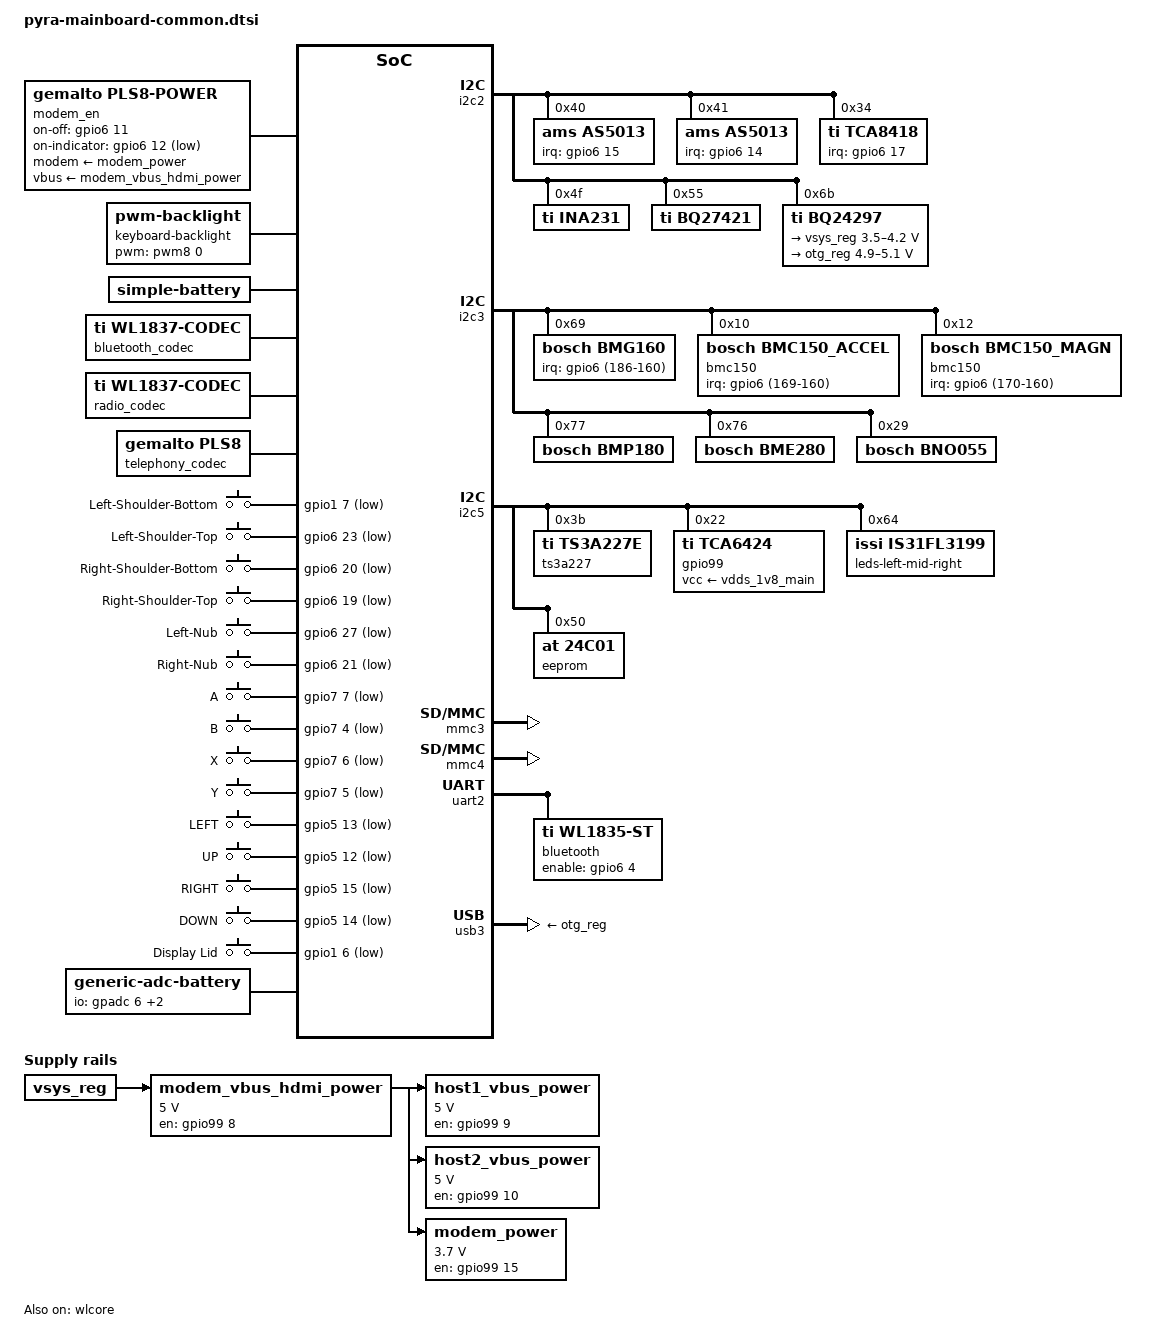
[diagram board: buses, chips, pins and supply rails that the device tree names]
// SPDX-License-Identifier: GPL-2.0-or-later
/*
 * Copyright (C) 2015-19 Golden Delicous Computers - http://www.goldelico.com/
 *
 * This program is free software; you can redistribute it and/or modify
 * it under the terms of the GNU General Public License version 2 as
 * published by the Free Software Foundation.
 */

#include <dt-bindings/input/input.h>

/ {
	/* common DC/DC converter for USB Host ports, Modem USB and HDMI 5V */
	modem_vbus_hdmi_power: tps2505_reg {
		compatible = "regulator-fixed";
		regulator-name = "modem_vbus_hdmi_power";
		regulator-min-microvolt = <5000000>;
		regulator-max-microvolt = <5000000>;
		gpio = <&gpio99 8 GPIO_ACTIVE_HIGH>;
		enable-active-high;
		startup-delay-us = <70000>;
		vin-supply = <&vsys_reg>;
		regulator-always-on;
	};

	/* the following are the DC/DC converters that supply the
	   5V to USB devices connected to the Host ports.
	   They should be under the (software) control
	   of the USB3503A hub on the CPU board */

	host1_vbus_power: host1_vbus_power_reg {
		compatible = "regulator-fixed";
		regulator-name = "host1_vbus_power";
		regulator-min-microvolt = <5000000>;
		regulator-max-microvolt = <5000000>;
		gpio = <&gpio99 9 GPIO_ACTIVE_HIGH>;
		enable-active-high;
		startup-delay-us = <70000>;
		vin-supply = <&modem_vbus_hdmi_power>;
		regulator-always-on;
	};

	host2_vbus_power: host2_vbus_power_reg {
		compatible = "regulator-fixed";
		regulator-name = "host2_vbus_power";
		regulator-min-microvolt = <5000000>;
		regulator-max-microvolt = <5000000>;
		gpio = <&gpio99 10 GPIO_ACTIVE_HIGH>;
		enable-active-high;
		startup-delay-us = <70000>;
		vin-supply = <&modem_vbus_hdmi_power>;
		regulator-always-on;
	};

	/* this is the modem power switch (similar to an unregulated LDO) */
	modem_power: modem_power_reg {
		compatible = "regulator-fixed";
		regulator-name = "modem_vbus_power";
		regulator-min-microvolt = <3700000>;
		regulator-max-microvolt = <3700000>;
		gpio = <&gpio99 15 GPIO_ACTIVE_HIGH>;
		enable-active-high;
		startup-delay-us = <100000>;
		/* the real input is vsys but it makes no sense
		   to power the modem without requesting vbus_hdmi */
		vin-supply = <&modem_vbus_hdmi_power>;
	};

	/* modem power control through rfkill */
	modem_en: modem {
		compatible = "gemalto,pls8-power";
		pinctrl-names = "default";
		pinctrl-0 = <&pyra_modem_pins>;
		/* gpio6_171: trigger to power on modem */
		on-off-gpio = <&gpio6 11 GPIO_ACTIVE_HIGH>;
		/* gpio6_172: modem power indication feedback GPIO */
		on-indicator-gpio = <&gpio6 12 GPIO_ACTIVE_LOW>;
		/* enable some external power regulators */
		modem-supply = <&modem_power>;
		/*
		 * VBUS supply should probably be controlled through the USB PHY driver
		 * for the modem port
		 */
		usb-port = <&hsusb2_phy>;
		/* apply VBUS to the modem */
		vbus-supply = <&modem_vbus_hdmi_power>;
	};

	keyboard-backlight {
		compatible = "pwm-backlight";
		pwms = <&pwm8 0 120000 0>; /* 8300Hz */
		pwm-names = "keyboard";
		brightness-levels = <0 1 2 5 7 10 13 25 32 64 128 320 640 1280 2560 3840 6400>;
		default-brightness-level = <13>;	/* 20% */
		pinctrl-names = "default";
		pinctrl-0 = <&pyra_keyboard_backlight_pins>;
	};

	pwm8: dmtimer-pwm@8 {
		compatible = "ti,omap-dmtimer-pwm";
		ti,timers = <&timer8>;
		#pwm-cells = <3>;
	};

	bat: battery {
		compatible = "simple-battery", "pyra-battery";
		voltage-min-design-microvolt = <3200000>;
		voltage-max-design-microvolt = <4200000>;
		energy-full-design-microwatt-hours = <22200000>;
		charge-full-design-microamp-hours = <6000000>;
		constant-charge-current-max-microamp = <2048000>;
		constant-charge-voltage-max-microvolt = <4200000>;
		precharge-current-microamp = <128000>;
		charge-term-current-microamp = <128000>;
	};

	/* Bluetooth audio */
	sound_bluetooth {
		compatible = "simple-audio-card";
		simple-audio-card,name = "Bluetooth";
		simple-audio-card,bitclock-master = <&bt_link_master>;
		simple-audio-card,frame-master = <&bt_link_master>;
		simple-audio-card,format = "i2s";

		simple-audio-card,cpu {
			sound-dai = <&mcbsp1>;
		};

		bt_link_master: simple-audio-card,codec {
			sound-dai = <&bluetooth_codec>;
		};
	};

	bluetooth_codec: bluetooth_codec {
		compatible = "ti,wl1837-codec";
		#sound-dai-cells = <0>;
	};

	/* FM radio audio */
	sound_fmradio {
		compatible = "simple-audio-card";
		simple-audio-card,name = "Tuner";
		simple-audio-card,bitclock-master = <&tuner_link_master>;
		simple-audio-card,frame-master = <&tuner_link_master>;
		simple-audio-card,format = "i2s";

		simple-audio-card,cpu {
			sound-dai = <&mcbsp2>;
		};

		tuner_link_master: simple-audio-card,codec {
			sound-dai = <&radio_codec>;
		};
	};

	radio_codec: radio_codec {
		compatible = "ti,wl1837-codec";
		#sound-dai-cells = <0>;
	};

	/* GSM audio */
	sound_telephony {
		compatible = "simple-audio-card";
		simple-audio-card,name = "Telephony";
		simple-audio-card,bitclock-master = <&telephony_link_master>;
		simple-audio-card,frame-master = <&telephony_link_master>;
		simple-audio-card,format = "i2s";
		simple-audio-card,bitclock-inversion;
		simple-audio-card,frame-inversion;
		simple-audio-card,cpu {
			sound-dai = <&mcbsp3>;
		};

		telephony_link_master: simple-audio-card,codec {
			sound-dai = <&telephony_codec>;
		};
	};

	telephony_codec: gsm_codec {
		compatible = "gemalto,pls8";
		#sound-dai-cells = <0>;
	};

	user-buttons {
		/* is bound to gpio1_wk7 by LC15 which we want to reassign */
		/delete-node/ BOOTSEL;
	};

	pyra-game-buttons {
		compatible = "gpio-keys";

		#address-cells = <7>;
		#size-cells = <0>;

		pinctrl-names = "default";
		pinctrl-0 = <&pyra_button_pins>;

		left_shoulder_bottom {
			label = "Left-Shoulder-Bottom";
			linux,code = <KEY_RIGHTSHIFT>;
			gpios = <&gpio1 7 GPIO_ACTIVE_LOW>;	/* gpio1_wk7 */
			gpio-key,wakeup;
		};

		left_shoulder_top {
			label = "Left-Shoulder-Top";
			linux,code = <KEY_RIGHTMETA>;
			gpios = <&gpio6 23 GPIO_ACTIVE_LOW>;	/* gpio6_183 */
			gpio-key,wakeup;
		};

		right_shoulder_bottom {
			label = "Right-Shoulder-Bottom";
			linux,code = <KEY_RIGHTCTRL>;
			gpios = <&gpio6 20 GPIO_ACTIVE_LOW>;	/* gpio6_180 */
			gpio-key,wakeup;
		};

		right_shoulder_top {
			label = "Right-Shoulder-Top";
			linux,code = <KEY_RIGHTALT>;
			gpios = <&gpio6 19 GPIO_ACTIVE_LOW>;	/* gpio6_179 */
			gpio-key,wakeup;
		};

		left_nub {
			label = "Left-Nub";
			linux,code = <BTN_RIGHT>;
			gpios = <&gpio6 27 GPIO_ACTIVE_LOW>;	/* gpio6_187 */
			gpio-key,wakeup;
		};

		right_nub {
			label = "Right-Nub";
			linux,code = <BTN_LEFT>;
			gpios = <&gpio6 21 GPIO_ACTIVE_LOW>;	/* gpio6_181 */
			gpio-key,wakeup;
		};

		button_a {
			label = "A";
			linux,code = <KEY_HOME>;
			gpios = <&gpio7 7 GPIO_ACTIVE_LOW>;	/* gpio7_199 */
			gpio-key,wakeup;
		};

		button_b {
			label = "B";
			linux,code = <KEY_END>;
			gpios = <&gpio7 4 GPIO_ACTIVE_LOW>;	/* gpio7_196 */
			gpio-key,wakeup;
		};

		button_x {
			label = "X";
			linux,code = <KEY_PAGEDOWN>;
			gpios = <&gpio7 6 GPIO_ACTIVE_LOW>;	/* gpio7_198 */
			gpio-key,wakeup;
		};

		button_y {
			label = "Y";
			linux,code = <KEY_PAGEUP>;
			gpios = <&gpio7 5 GPIO_ACTIVE_LOW>;	/* gpio7_197 */
			gpio-key,wakeup;
		};

		dpad_left {
			label = "LEFT";
			linux,code = <KEY_LEFT>;
			gpios = <&gpio5 13 GPIO_ACTIVE_LOW>;	/* gpio5_141 */
			gpio-key,wakeup;
		};

		dpad_up {
			label = "UP";
			linux,code = <KEY_UP>;
			gpios = <&gpio5 12 GPIO_ACTIVE_LOW>;	/* gpio5_140 */
			gpio-key,wakeup;
		};

		dpad_right {
			label = "RIGHT";
			linux,code = <KEY_RIGHT>;
			gpios = <&gpio5 15 GPIO_ACTIVE_LOW>;	/* gpio5_143 */
			gpio-key,wakeup;
		};

		dpad_down {
			label = "DOWN";
			linux,code = <KEY_DOWN>;
			gpios = <&gpio5 14 GPIO_ACTIVE_LOW>;	/* gpio5_142 */
			gpio-key,wakeup;
		};
	};

	pyra-lid-wakeup {
		compatible = "gpio-keys";

		pinctrl-names = "default";
		pinctrl-0 = <&lid_pin &wwan_pins>;

		#address-cells = <2>;
		#size-cells = <0>;

		wwan_wakeup {
			status = "disabled";	/* WAKEUP pin of PHS8 has been renamed to GPIO4 on PLS8 and is not able to be used as an URC trigger */
			label = "WWAN Wakeup";
			linux,code = <KEY_UNKNOWN>;
			gpios = <&gpio1 15 GPIO_ACTIVE_HIGH>;	/* gpio1_wk15 */
			gpio-key,wakeup;
			/* debounce-interval */
		};

		display_lid {
			label = "Display Lid";
			linux,input-type = <EV_SW>;
			linux,code = <SW_LID>;
			gpios = <&gpio1 6 GPIO_ACTIVE_LOW>;	/* gpio1_wk6 */
			gpio-key,wakeup;
		};

	};
};

/* add overlay pimmux for pyra on 5432evm */

&omap5_pmx_core {

	pinctrl-0 = <
			/* copied from omap5-board-common */
			&usbhost_pins
			&led_gpio_pins

			/* new entries */
			&pyra_misc_pins
	>;

	bt_pins: pinmux_bt_pins {
		pinctrl-single,pins = <
			OMAP5_IOPAD(0x12a, PIN_OUTPUT | MUX_MODE6)	/* 0x128:[31:16]  gpio6_164 - BT EN */
		>;
	};

	pyra_button_pins: pinmux_button_gpio_pins {
		pinctrl-single,pins = <
			OMAP5_IOPAD(0x1bc, PIN_INPUT_PULLUP | MUX_MODE6)	/* 0x1BC:[15:0] gpio5_140 - U */
			OMAP5_IOPAD(0x1be, PIN_INPUT_PULLUP | MUX_MODE6)	/* 0x1BC:[31:16] gpio5_141 - L */
			OMAP5_IOPAD(0x1c0, PIN_INPUT_PULLUP | MUX_MODE6)	/* 0x1C0:[15:0] gpio5_142 - D */
			OMAP5_IOPAD(0x1c2, PIN_INPUT_PULLUP | MUX_MODE6)	/* 0x1C0:[31:16] gpio5_143 - R */
			OMAP5_IOPAD(0x108, PIN_INPUT_PULLUP | MUX_MODE6)	/* 0x108:[15:0]  gpio6_179 - rsh-top */
			OMAP5_IOPAD(0x106, PIN_INPUT_PULLUP | MUX_MODE6)	/* 0x104:[31:16] gpio6_180 - rsh-bot */
			OMAP5_IOPAD(0x104, PIN_INPUT_PULLUP | MUX_MODE6)	/* 0x104:[15:0]  gpio6_181 - right nub */
			OMAP5_IOPAD(0x132, PIN_INPUT_PULLUP | MUX_MODE6)	/* 0x130:[31:16] gpio6_183 - lsh-top */
			OMAP5_IOPAD(0x13a, PIN_INPUT_PULLUP | MUX_MODE6)	/* 0x138:[31:16]  gpio6_187 - left nub */
			OMAP5_IOPAD(0x102, PIN_INPUT_PULLUP | MUX_MODE6)	/* 0x100:[31:16] gpio7_196 - B */
			OMAP5_IOPAD(0x0fc, PIN_INPUT_PULLUP | MUX_MODE6)	/* 0x0FC:[15:0] gpio7_197 - Y */
			OMAP5_IOPAD(0x0fe, PIN_INPUT_PULLUP | MUX_MODE6)	/* 0x0FC:[31:16] gpio7_198 - X */
			OMAP5_IOPAD(0x100, PIN_INPUT_PULLUP | MUX_MODE6)	/* 0x100:[15:0] gpio7_199 - A */
		>;
	};

	pyra_gpio_exp_pins: pinmux_gpio_exp_pins {
		pinctrl-single,pins = <
			OMAP5_IOPAD(0x12e, PIN_INPUT_PULLUP | MUX_MODE6)	/* 0x12C:[31:16]  gpio6_161 - active low interrupt */
		>;
	};

	pyra_accel_pins: pinmux_accel_gpio_pins {
		pinctrl-single,pins = <
			OMAP5_IOPAD(0x11c, PIN_INPUT_PULLUP | MUX_MODE6)	/* 0x11C:[15:0]  gpio6_169 - accelerometer interrupt */
		>;
	};

	pyra_gyro_pins: pinmux_gyro_gpio_pins {
		pinctrl-single,pins = <
			OMAP5_IOPAD(0x138, PIN_INPUT_PULLUP | MUX_MODE6)	/* 0x138:[15:0]  gpio6_186 - gyroscope interrupt */
		>;
	};

	pyra_magneto_pins: pinmux_magneto_gpio_pins {
		pinctrl-single,pins = <
			OMAP5_IOPAD(0x11a, PIN_INPUT_PULLUP | MUX_MODE6)	/* 0x118:[31:16]  gpio6_170 - magnetometer interrupt */
		>;
	};

	pyra_misc_pins: pinmux_misc_gpio_pins {
		pinctrl-single,pins = <
			OMAP5_IOPAD(0x1c4, PIN_INPUT_PULLUP | MUX_MODE6)	/* 0x1C4:[15:0]  gpio5_144 - reset I2C peripherals */
			OMAP5_IOPAD(0x12c, PIN_INPUT | MUX_MODE6)	/* 0x12C:[15:0]  gpio6_160 - revision 1 */
			OMAP5_IOPAD(0x128, PIN_INPUT_PULLDOWN | MUX_MODE6)	/* 0x128:[15:0]  gpio6_165 - speaker EN */
			OMAP5_IOPAD(0x112, PIN_INPUT_PULLUP | MUX_MODE6)	/* 0x110:[31:16]  gpio6_174 - right NUB int */
			OMAP5_IOPAD(0x110, PIN_INPUT_PULLUP | MUX_MODE6)	/* 0x110:[15:0]  gpio6_175 - left NUB int */
			OMAP5_IOPAD(0x10c, PIN_INPUT_PULLUP | MUX_MODE6)	/* 0x10C:[15:0]  gpio6_177 - keyboard int */
			OMAP5_IOPAD(0x10a, PIN_INPUT_PULLUP | MUX_MODE6)	/* 0x108:[31:16]  gpio6_178 - fm int */
			OMAP5_IOPAD(0x130, PIN_INPUT | MUX_MODE6)	/* 0x130:[15:0]  gpio6_182 - revision 2 */
			OMAP5_IOPAD(0x136, PIN_INPUT | MUX_MODE6)	/* 0x134:[31:16]  gpio6_185 - revision 3 */
		>;
	};

	pyra_penirq_pins: pinmux_penirq_gpio_pins {
		pinctrl-single,pins = <
			OMAP5_IOPAD(0x114, PIN_INPUT_PULLUP | MUX_MODE6)	/* 0x114:[15:0]  gpio6_173 - touch screen penirq */
		>;
	};

	pyra_modem_pins: pinmux_modem_gpio_pins {
		pinctrl-single,pins = <
			OMAP5_IOPAD(0x118, PIN_OUTPUT_PULLDOWN | MUX_MODE6)	/* 0x118:[15:0]  gpio6_171 - modem ignite */
			OMAP5_IOPAD(0x116, PIN_INPUT | MUX_MODE6)	/* 0x114:[31:16]  gpio6_172 - modem power indication */
		>;
	};

	pyra_backlight_pins: pinmux_backlight_pins {
		pinctrl-single,pins = <
			/* MUX_MODE0 for PWM_TIMER9, MUX_MODE6 for GPIO, MUX_MODE7 if panel provides the PWM signal */
			OMAP5_IOPAD(0x0f6, PIN_OUTPUT_PULLDOWN | MUX_MODE0)	/* 0x0F4:[31:16] timer9/gpio6_190 */
		>;
	};

	pyra_keyboard_backlight_pins: pinmux_keyboard_backlight_pins {
		pinctrl-single,pins = <
			/* MUX_MODE0 for PWM_TIMER8, MUX_MODE6 for GPIO */
			OMAP5_IOPAD(0x178, PIN_OUTPUT_PULLDOWN | MUX_MODE0)	/* 0x178:[15:0] timer8/gpio8_230 */
		>;
	};
};

&omap5_pmx_wkup {

	letux_wkup_pins: pinmux_wkup_pins {
		pinctrl-single,pins = <
			OMAP5_IOPAD(0x078, PIN_OUTPUT | MUX_MODE6)	/* 0x078:[15:0]  gpio1_wkout4 - second LED on CPU board */
			OMAP5_IOPAD(0x046, WAKEUP_EN | PIN_INPUT | MUX_MODE6)	/* 0x044:[31:16]  gpio1_wk7 - boot select input */
		>;
	};

	lid_pin: pinmux_lid_pin {
		pinctrl-single,pins = <
			OMAP5_IOPAD(0x044, WAKEUP_EN | PIN_INPUT_PULLUP | MUX_MODE6)	/* 0x044:[15:0] gpio1_wk6 - lid */
		>;
	};

	wwan_pins: pinmux_wwan_pins {
		pinctrl-single,pins = <
			OMAP5_IOPAD(0x042, WAKEUP_EN | PIN_INPUT_PULLUP | MUX_MODE6)	/* 0x040:[31:16] gpio1_wk15 - modem wakeup */
		>;
	};
};

/* register devices connected to Peripheral-I2C */
&i2c2 {

	/* left nub */
	as5013@40 {
		compatible = "ams,as5013";
		reg = <0x40>;
		interrupt-parent = <&gpio6>;
		interrupts = <15 IRQ_TYPE_EDGE_RISING>;	/* gpio6_175 low-to-high edge */
	};

	/* right nub */
	as5013@41 {
		compatible = "ams,as5013";
		reg = <0x41>;
		interrupt-parent = <&gpio6>;
		interrupts = <14 IRQ_TYPE_EDGE_RISING>;	/* gpio6_174 low-to-high edge */
	};

	/* keyboard scanner */
	tca8418@34 {
		compatible = "ti,tca8418";
		reg = <0x34>;
		interrupt-parent = <&gpio6>;
		interrupts = <17 IRQ_TYPE_EDGE_FALLING>;	/* gpio6_177 high-to-low edge */
		keypad,num-rows = <8>;
		keypad,num-columns = <10>;
		linux,keymap = <
			/* top row */
			MATRIX_KEY(3, 6, KEY_ESC)
			MATRIX_KEY(2, 3, KEY_PAUSE)
			MATRIX_KEY(1, 2, KEY_BRIGHTNESSUP)
			MATRIX_KEY(7, 1, KEY_F11)

			/* center column */
			MATRIX_KEY(2, 4, KEY_LEFTALT)
			MATRIX_KEY(2, 0, KEY_LEFTCTRL)
			MATRIX_KEY(1, 0, KEY_MENU)

			/* ABXY extension */
			MATRIX_KEY(4, 9, KEY_INSERT)
			MATRIX_KEY(1, 9, KEY_DELETE)

			/* digits row */
			MATRIX_KEY(7, 3, KEY_1)
			MATRIX_KEY(6, 7, KEY_2)
			MATRIX_KEY(6, 1, KEY_3)
			MATRIX_KEY(5, 5, KEY_4)
			MATRIX_KEY(6, 6, KEY_5)
			MATRIX_KEY(4, 3, KEY_6)
			MATRIX_KEY(3, 7, KEY_7)
			MATRIX_KEY(3, 5, KEY_8)
			MATRIX_KEY(2, 5, KEY_9)
			MATRIX_KEY(1, 5, KEY_0)
			MATRIX_KEY(7, 2, KEY_BACKSPACE)

			/* TAB row */
			MATRIX_KEY(5, 3, KEY_TAB)
			MATRIX_KEY(6, 4, KEY_Q)
			MATRIX_KEY(5, 8, KEY_W)
			MATRIX_KEY(5, 2, KEY_E)
			MATRIX_KEY(4, 6, KEY_R)
			MATRIX_KEY(6, 2, KEY_T)
			MATRIX_KEY(3, 4, KEY_Y)
			MATRIX_KEY(2, 8, KEY_U)
			MATRIX_KEY(2, 2, KEY_I)
			MATRIX_KEY(1, 6, KEY_O)
			MATRIX_KEY(0, 5, KEY_P)
			MATRIX_KEY(0, 4, KEY_ENTER)

			/* middle letter row */
			MATRIX_KEY(4, 0, KEY_APOSTROPHE)
			MATRIX_KEY(5, 6, KEY_A)
			MATRIX_KEY(4, 1, KEY_S)
			MATRIX_KEY(4, 4, KEY_D)
			MATRIX_KEY(3, 8, KEY_F)
			MATRIX_KEY(3, 2, KEY_G)
			MATRIX_KEY(2, 6, KEY_H)
			MATRIX_KEY(1, 3, KEY_J)
			MATRIX_KEY(1, 4, KEY_K)
			MATRIX_KEY(0, 8, KEY_L)
			MATRIX_KEY(3, 0, KEY_LEFTSHIFT)

			/* bottom letter row */
			MATRIX_KEY(7, 6, KEY_COMMA)
			MATRIX_KEY(6, 3, KEY_DOT)
			MATRIX_KEY(5, 7, KEY_Z)
			MATRIX_KEY(5, 1, KEY_X)
			MATRIX_KEY(4, 5, KEY_C)
			MATRIX_KEY(4, 7, KEY_V)
			MATRIX_KEY(3, 3, KEY_B)
			MATRIX_KEY(2, 7, KEY_N)
			MATRIX_KEY(7, 4, KEY_M)
			MATRIX_KEY(0, 6, KEY_SPACE)
			MATRIX_KEY(0, 7, KEY_SPACE)
			MATRIX_KEY(0, 0, KEY_LEFTMETA)
		>;
	};

	/* modem current sensor */
	ina231@4f {
		compatible = "ti,ina231";
		reg = <0x4f>;
		shunt-resistor = <20000>;	/* 20 mOhm */
	};

	bq27421@55 {
		compatible = "ti,bq27421";
		reg = <0x55>;
		monitored-battery = <&bat>;
	};

	/* charger */
	bq24297@6b {
		compatible = "ti,bq24297";
		reg = <0x6b>;
		monitored-battery = <&bat>;
		/* interrupts are broken */
		regulators {
			vsys_reg: vsys_regulator {
				regulator-compatible = "bq2429x-vsys";
				regulator-name = "vsys";
				regulator-min-microvolt = <3500000>;
				regulator-max-microvolt = <4200000>;
				regulator-always-on;
				regulator-boot-on;
			};
			otg_reg: otg_regulator {
				regulator-compatible = "bq2429x-otg";
				regulator-name = "otg";
				regulator-min-microvolt = <4900000>;
				regulator-max-microvolt = <5100000>;
			};
		};
	};

};

/* register devices connected to Sensor-I2C */
&i2c3 {
	/* optional gyroscope sensor */
	bmg160@69 {
		compatible = "bosch,bmg160";
		reg = <0x69>;
		pinctrl-names = "default";
		pinctrl-0 = <&pyra_gyro_pins>;
		interrupt-parent = <&gpio6>;
		interrupts = <(186-160) (IRQ_TYPE_LEVEL_HIGH | IRQ_TYPE_EDGE_RISING)>;	/* gpio6_186 */
	};
	/* optional accelerometer sensor */
	bmc150@10 {
		compatible = "bosch,bmc150_accel";
		reg = <0x10>;
		pinctrl-names = "default";
		pinctrl-0 = <&pyra_accel_pins>;
		interrupt-parent = <&gpio6>;
		interrupts = <(169-160) (IRQ_TYPE_LEVEL_HIGH | IRQ_TYPE_EDGE_RISING)>;	/* gpio6_169 */
	};
	/* optional compass sensor */
	bmc150@12 {
		compatible = "bosch,bmc150_magn";
		reg = <0x12>;
		pinctrl-names = "default";
		pinctrl-0 = <&pyra_magneto_pins>;
		interrupt-parent = <&gpio6>;
		interrupts = <(170-160) (IRQ_TYPE_LEVEL_HIGH | IRQ_TYPE_EDGE_RISING)>;	/* gpio6_170 */
	};
	/* optional barometer sensor */
	bmp180@77 {
		compatible = "bosch,bmp180";
		reg = <0x77>;
	};
	/* optional barometer/hygrometer sensor */
	bme280@76 {
		compatible = "bosch,bme280";
		reg = <0x76>;
	};
	/* optional 9-axis sensor */
	bno055@29 {
		compatible = "bosch,bno055";
		reg = <0x29>;
		bosch,operation-mode = <7>;	/* BNO055_MODE_AMG */
#if 0	/* shared with bmc150 */
		pinctrl-names = "default";
		pinctrl-0 = <&pyra_accel_pins>;
		interrupt-parent = <&gpio6>;
		interrupts = <(169-160) (IRQ_TYPE_LEVEL_HIGH | IRQ_TYPE_EDGE_RISING)>;	/* gpio6_169 */
#endif
	};
};

/* register devices connected to System-I2C */
&i2c5 {
	ts3a227@3b {
		compatible = "ti,ts3a227e";
		reg = <0x3b>;
		/* interrupts are broken */
		ti,micbias = <0>;	/* 2.1V */
	};

	/* system/keyboard-led and other controls */
	gpio99: tca6424@22 {
		compatible = "ti,tca6424";
		/* interrupts are broken */
		interrupt-controller;
		#interrupt-cells = <2>;
		vcc-supply = <&vdds_1v8_main>;
		pinctrl-names = "default";
		pinctrl-0 = <&pyra_gpio_exp_pins>;
		reg = <0x22>;
		gpio-controller;
		#gpio-cells = <2>;
		gpio-line-names =
			"hdmi-ct-hpd", "hdmi.ls-oe", "p02", "p03", "vibra", "fault2", "p06", "p07",
			"en-usb", "en-host1", "en-host2", "chg-int", "p14", "p15", "mic-int", "en-modem",
			"shdn-hs-amp", "chg-status+red", "green", "blue", "en-esata", "fault1", "p26", "p27";
	};

	leds-left-mid-right@64 {
		compatible = "issi,is31fl3199";
		#address-cells = <1>;
		#size-cells = <0>;
		reg = <0x64>;

		left_led1: red_left@1 {
			label = "pyra:red:left";
			reg = <1>;
			linux,default-trigger = "heartbeat";
		};

		left_led2: green_left@2 {
			label = "pyra:green:left";
			reg = <2>;
			linux,default-trigger = "heartbeat";
		};

		left_led3: blue_left@3 {
			label = "pyra:blue:left";
			reg = <3>;
			linux,default-trigger = "timer";
		};

		mid_led4: red_mid@4 {
			label = "pyra:red:mid";
			reg = <4>;
			linux,default-trigger = "default-on";
		};

		mid_led5: green_mid@5 {
			label = "pyra:green:mid";
			reg = <5>;
			linux,default-trigger = "timer";
		};

		mid_led6: blue_mid@6 {
			label = "pyra:blue:mid";
			reg = <6>;
			linux,default-trigger = "heartbeat";
		};

		right_led7: red_right@7 {
			label = "pyra:red:right";
			reg = <7>;
			linux,default-trigger = "heartbeat";
		};

		right_led8: green_right@8 {
			label = "pyra:green:right";
			reg = <8>;
			linux,default-trigger = "heartbeat";
		};

		right_led9: blue_right@9 {
			label = "pyra:blue:right";
			reg = <9>;
			linux,default-trigger = "timer";
		};
	};

	eeprom@50 {
		compatible = "at,24c01";
		reg = <0x50>;
	};
};

&mcspi1 {
	/* pins used in gpio mode for shoulder buttons etc. */
	status = "disabled";
};

&mcspi2 {
	/* pins used in gpio mode for shoulder buttons etc. */
	status = "disabled";
};

&mmc3 {
	/* we have a WLAN module on mmc3 */
	status = "okay";
};

&mmc4 { /* enable second (µ)SD slot (SDIO capable) */
	status = "okay";
};

&smps10_out1_reg {
	/* never turn on or it may burn the Palmas! */
	status = "disabled";
};

&tpd12s015 {
	compatible = "ti,tpd12s015";
	gpios = <&gpio99 0 GPIO_ACTIVE_HIGH>,	/* TCA6424A P01, CT CP HPD */
		<&gpio99 1 GPIO_ACTIVE_HIGH>,	/* TCA6424A P00, LS OE */
		<&gpio7 1 GPIO_ACTIVE_HIGH>;	/* GPIO 193, HPD */
};

&twl6040 {
	vddvibl-supply = <&vsys_reg>;
	vddvibr-supply = <&vsys_reg>;

	vibra {
		ti,vibldrv-res = <8>;
		ti,vibrdrv-res = <3>;
		ti,viblmotor-res = <999999>;	/* no motor */
		ti,vibrmotor-res = <32>;
	};
};

&sound {
	ti,audio-routing =
		"Headset Stereophone", "HSOL",
		"Headset Stereophone", "HSOR",
		"Ext Spk", "HFL",
		"Ext Spk", "HFR",
		"Line Out", "AUXL",
		"Line Out", "AUXR",
		"HSMIC", "Headset Mic",
		"Headset Mic", "Headset Mic Bias",
		"MAINMIC", "Main Handset Mic",
		"Main Handset Mic", "Main Mic Bias",
		"AFML", "Line In",
		"AFMR", "Line In";
};

&uart2 {
	pinctrl-names = "default";
	pinctrl-0 = <&uart2_pins &bt_pins>;
	bluetooth: tiwi {
		compatible = "ti,wl1835-st";
		enable-gpios = <&gpio6 4 GPIO_ACTIVE_HIGH>;	/* GPIO6_164 */
	};
};

&uart3 {
	interrupts-extended = <&wakeupgen GIC_SPI 74 IRQ_TYPE_LEVEL_HIGH>,
			      <&omap5_pmx_core 0xe0>;
};

/* rearrange to use gpio6_167/168 for console UART3 instead of sdio4_cmd/clk */
&uart3_pins {
	pinctrl-single,pins = <
		OMAP5_IOPAD(0x11e, PIN_OUTPUT | MUX_MODE4) /* uart3_tx_irtx gpio6_168 */
		OMAP5_IOPAD(0x120, PIN_INPUT_PULLUP | MUX_MODE4) /* uart3_rx_irrx gpio6_167 */
	>;
};

&usb3 {
	/* we do not use the Palmas OTG step-up converter */
	vbus-supply = <&otg_reg>;
};

&vmmcsdio_fixed {
	gpio = <&gpio6 3 GPIO_ACTIVE_HIGH>;	/* GPIO6_163 */
};

&wlan_pins {
	status = "okay";
	pinctrl-single,pins = <
		OMAP5_IOPAD(0x126, PIN_OUTPUT | MUX_MODE6)	/* 0x124:[31:16]  gpio6_163 - WLAN EN */
	>;
};

&wlcore {
	status = "okay";
	compatible = "ti,wl1837";
};


/* was #include <dt-bindings/power/power.h> */

#define POWER_SUPPLY_TECHNOLOGY_NiMH 1
#define POWER_SUPPLY_TECHNOLOGY_LION 2
#define POWER_SUPPLY_TECHNOLOGY_LIPO 3
#define POWER_SUPPLY_TECHNOLOGY_LiFe 4
#define POWER_SUPPLY_TECHNOLOGY_NiCd 5
#define POWER_SUPPLY_TECHNOLOGY_LiMn 6

/ {
	battery: battery-monitor {
		compatible = "linux,generic-adc-battery";
		io-channels = <&gpadc 6>, <&gpadc 11>, <&gpadc 1>;
		io-channel-names = "voltage", "current", "temperature";
		monitored-battery = <&bat>;
		technology = <POWER_SUPPLY_TECHNOLOGY_LION>;
		battery-name = "pyra-battery";
		charge_full_design = <6000000>;
		charge_empty_design = <00>;
		voltage_min_design = <3200000>;
		voltage_max_design = <4200000>;
	};
};
